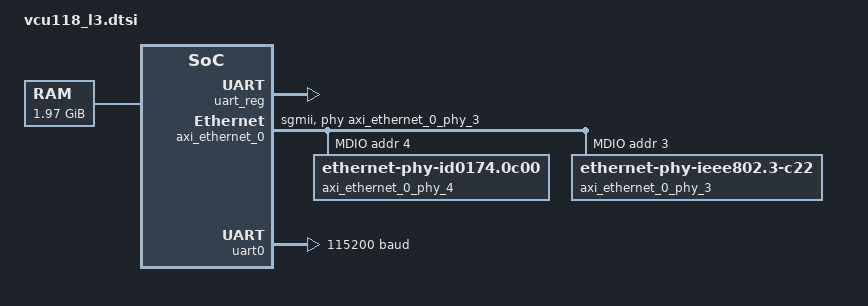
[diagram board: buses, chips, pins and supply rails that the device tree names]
// SPDX-License-Identifier: GPL-2.0
/*
 *  Copyright (C) 2026 Syntacore
 */

#include <dt-bindings/interrupt-controller/irq.h>

#include "scr_pma.h"
#include "scr_pmp.h"

/ {
	compatible = "syntacore,scr_sdk";
	#address-cells = <2>;
	#size-cells = <2>;

	chosen {

		opensbi-domains {
			compatible = "opensbi,domain,config";

			mcfg_reg: mcfg_reg {
				compatible = "opensbi,domain,memregion";
				base = <0x00 0xe8000000>;
				order = <13>;
				mmio;
			};

			dram_reg: dram_reg {
				compatible = "opensbi,domain,memregion";
				base = <0x04 0x00>;
				order = <31>;
			};

			dma_reg: dma_reg {
				compatible = "opensbi,domain,memregion";
				base = <0x04 0x7e000000>;
				order = <25>;
				mmio;
			};

			uart_reg: uart_reg {
				compatible = "opensbi,domain,memregion";
				base = <0x00 0x1e140000>;
				devices = <&uart0>;
				order = <19>;
				mmio;
			};

			axinet_reg: axinet_reg {
				compatible = "opensbi,domain,memregion";
				base = <0x00 0xf040000>;
				devices = <&axi_ethernet_0_dma>, <&axi_ethernet_0>;
				order = <20>;
				mmio;
			};

			plic_reg: plic_reg {
				compatible = "opensbi,domain,memregion";
				base = <0x00 0x6000000>;
				devices = <&plic>;
				order = <25>;
				mmio;
			};

			tdomain: trusted-domain {
				compatible = "opensbi,domain,instance";
				possible-harts = <
					&cpu0
					&cpu1
					&cpu2
					&cpu3
					&cpu4
					&cpu5
					&cpu6
					&cpu7
				>;

				regions =
					<&dma_reg (SCR_PMP_MMODE_READ | SCR_PMP_MMODE_WRITE |
						   SCR_PMP_SUMODE_READ | SCR_PMP_SUMODE_WRITE |
						   SCR_PMA_UNC)>,
					<&dram_reg (SCR_PMP_MMODE_READ | SCR_PMP_MMODE_WRITE | SCR_PMP_MMODE_EXECUTE |
						    SCR_PMP_SUMODE_READ | SCR_PMP_SUMODE_WRITE | SCR_PMP_SUMODE_EXECUTE)>,
					<&mcfg_reg (SCR_PMP_MMODE_READ | SCR_PMP_MMODE_WRITE |
						    SCR_PMP_SUMODE_READ |
						    SCR_PMA_MMIO)>,
					<&uart_reg (SCR_PMP_MMODE_READ | SCR_PMP_MMODE_WRITE |
						    SCR_PMP_SUMODE_READ | SCR_PMP_SUMODE_WRITE |
						    SCR_PMA_UNC)>,
					<&axinet_reg (SCR_PMP_MMODE_READ | SCR_PMP_MMODE_WRITE |
						    SCR_PMP_SUMODE_READ | SCR_PMP_SUMODE_WRITE |
						    SCR_PMA_UNC)>,
					<&plic_reg (SCR_PMP_MMODE_READ | SCR_PMP_MMODE_WRITE |
						    SCR_PMP_SUMODE_READ | SCR_PMP_SUMODE_WRITE |
						    SCR_PMA_UNC)>;
				system-reset-allowed;
				system-suspend-allowed;
			};
		};

		scr-root-domain {
			#address-cells = <2>;
			#size-cells = <2>;

			compatible = "syntacore,root-domain";

			ocram@2000000 {
				reg = <0x00 0x2000000 0x00 0x80000>;
				flags = <(SCR_PMP_MMODE_READ | SCR_PMP_MMODE_WRITE)>;
			};
		};
	};

	memory@400000000 {
		reg = <0x04 0x00 0x00 0x7e000000>;
		device_type = "memory";
	};

	reserved-memory {
		ranges;
		#address-cells = <2>;
		#size-cells = <2>;

		linux,dma@0 {
			compatible = "shared-dma-pool";
			reg = <0x04 0x7e000000 0x00 0x2000000>;
			linux,dma-default;
			no-map;
		};
	};

	clocks {
		sysclk: clk {
			compatible = "fixed-clock";
			#clock-cells = <0x00>;
			clock-frequency = <SYSCLK>;
		};
	};

	firmware {
		syntacore,bldid = "0000000000000000";
	};

	scr-fpga-reg {
		compatible = "syntacore,fpga-reg-v1";
		syntacore,buildid-reg = <0x00 0xc000000>;
		syntacore,sysclk-reg = <0x00 0xc001000>;
		syntacore,clsclk-reg = <0x00 0xc002000>;
	};

	soc {
		compatible = "simple-bus";
		device_type = "soc";
		ranges;
		#address-cells = <2>;
		#size-cells = <2>;
		bus-frequency = <SYSCLK>;
		dma-noncoherent;

		cluster_bus: cluster_bus {
			compatible = "simple-bus";
			ranges;
			#address-cells = <2>;
			#size-cells = <2>;

			iccm: interrupt-controller@4020000 {
				compatible = "syntacore,iccm-mmio";
				reg = <0x00 0x4020000 0x00 0x20000>;
			};

			mtimer: timer@4010000 {
				compatible = "syntacore,mtimer";
				reg = <0x00 0x4010000 0x00 0x2000>;
				interrupts-extended = <
					&cpu0_intc 7
					&cpu1_intc 7
					&cpu2_intc 7
					&cpu3_intc 7
					&cpu4_intc 7
					&cpu5_intc 7
					&cpu6_intc 7
					&cpu7_intc 7
				>;
				clock-frequency = <SYSCLK>;
				scr,timsrc-external;
			};

			plic: interrupt-controller@6000000 {
				compatible = "syntacore,plic";
				reg = <0x00 0x6000000 0x00 0x2000000>;
				reg-names = "control";

				#interrupt-cells = <2>;
				interrupt-controller;
				interrupts-extended = <
					&cpu0_intc 11 &cpu0_intc 9
					&cpu1_intc 11 &cpu1_intc 9
					&cpu2_intc 11 &cpu2_intc 9
					&cpu3_intc 11 &cpu3_intc 9
					&cpu4_intc 11 &cpu4_intc 9
					&cpu5_intc 11 &cpu5_intc 9
					&cpu6_intc 11 &cpu6_intc 9
					&cpu7_intc 11 &cpu7_intc 9
				>;

				riscv,ndev = <255>;
				riscv,max-priority = <7>;
				scr,plic-msi;
				scr,irq_en_base = <0x4000>;
				scr,irq_en_size = <0x100>;
			};

			scr_l2_cache: cache-controller@e8000000 {
				compatible = "syntacore,l2-cache";
				reg = <0x00 0xe8000000 0x00 0x2000>;
			};

			scr_l3_cache: cache-controller@4004000 {
				compatible = "syntacore,l3-cache";
				reg = <0x00 0x4004000 0x00 0x4000>;
			};
		};

		axi_ethernet_0: ethernet@f040000 {
			compatible = "xlnx,axi-ethernet-1.00.a";
			reg = <0x00 0xf040000 0x00 0x40000>;
			device_type = "network";

			local-mac-address = [00 0a 35 04 D0 99];

			phy-handle = <&axi_ethernet_0_phy_3>;
			pcs-handle = <&axi_ethernet_0_phy_4>;
			phy-mode = "sgmii";
			managed = "in-band-status";

			xlnx,rxmem = <0x1000>;
			xlnx,rxcsum = <0x2>;
			xlnx,txcsum = <0x2>;

			axistream-connected = <&axi_ethernet_0_dma>;
			axistream-control-connected = <&axi_ethernet_0_dma>;

			mdio {
				#address-cells = <1>;
				#size-cells = <0>;

				axi_ethernet_0_phy_4: phy@4 {
					compatible = "ethernet-phy-id0174.0c00";
					reg = <4>;
				};

				axi_ethernet_0_phy_3: phy@3 {
					compatible = "ethernet-phy-ieee802.3-c22";
					reg = <3>;
					ti,fifo-depth = <0x3>;
					ti,sgmii-ref-clock-output-enable = <1>;
					ti,dp83867-rxctrl-strap-quirk = <1>;
				};
			};
		};


		axi_ethernet_0_dma: dma@f080000 {
			compatible = "xlnx,eth-dma";
			reg = <0x00 0xf080000 0x00 0x10000>;
			#dma-cells = <1>;
			clock-names = "s_axi_lite_aclk";
			axistream-connected = <&axi_ethernet_0>;
			axistream-control-connected = <&axi_ethernet_0>;
			xlnx,include-dre;
			interrupt-parent = <&plic>;
			interrupts = <3 IRQ_TYPE_LEVEL_HIGH>, <2 IRQ_TYPE_LEVEL_HIGH>;
			clocks = <&sysclk>;
			clock-frequency = <SYSCLK>;
		};

		uart0: serial@1e140000 {
			compatible = "ns16550a";
			reg = <0x00 0x1e140000 0x00 0x1000>;
			reg-io-width = <4>;
			reg-shift = <2>;
			current-speed = <115200>;
			interrupt-parent = <&plic>;
			interrupts = <60 IRQ_TYPE_LEVEL_HIGH>;
			clocks = <&sysclk>;
			clock-frequency = <SYSCLK>;
		};
	};
};
